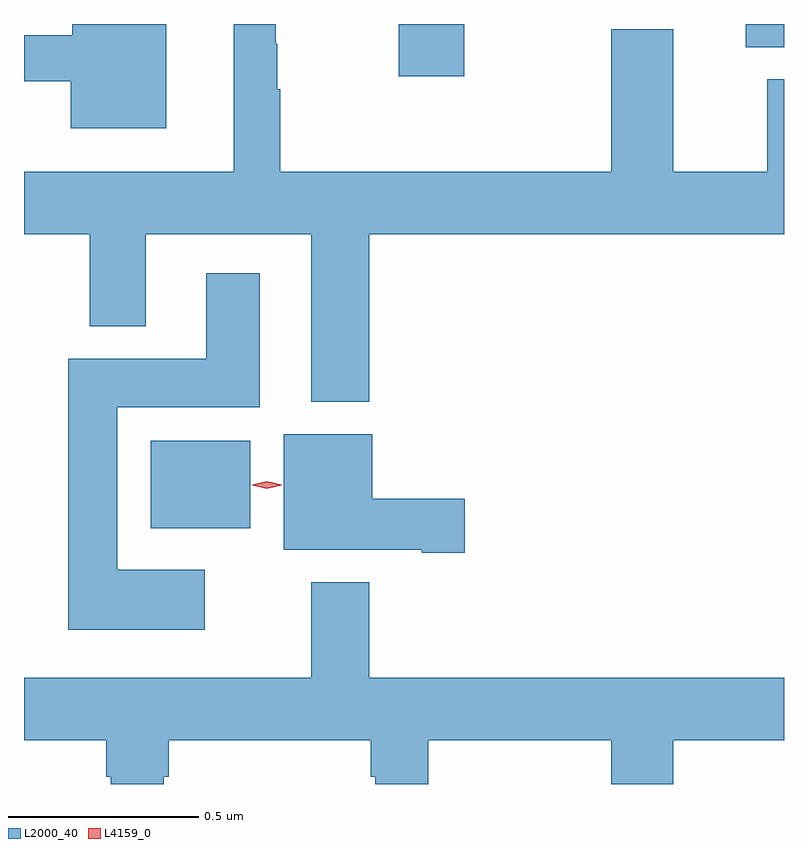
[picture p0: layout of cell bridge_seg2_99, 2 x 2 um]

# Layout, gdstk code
import gdstk
lib = gdstk.Library(unit=1e-6, precision=1e-09)
def R(c, l, rs):  # rectangles x0, y0, x1, y1
    for r in rs: c.add(gdstk.rectangle(r[:2], r[2:], *l))
def P(c, l, *ps):  # polygons
    for p in ps: c.add(gdstk.Polygon(p, *l))
L2000_40 = (2000, 40)
L4159_0 = (4159, 0)

bridge_seg2_99 = lib.new_cell('bridge_seg2_99')
R(bridge_seg2_99, L2000_40, [(283.676,646.862,283.939,647.092), (284.329,648.051,284.502,648.189), (285.242,648.128,285.343,648.189)])
P(bridge_seg2_99, L2000_40, [(284.252,647.636),(285.343,647.636),(285.343,648.043),(285.299,648.043),(285.299,647.8),(285.052,647.8),(285.052,648.175),(284.888,648.175),(284.888,647.8),(284.017,647.8),(284.017,648.017),(284.009,648.017),(284.009,648.137),(284.006,648.137),(284.006,648.189),(283.895,648.189),(283.895,647.8),(283.343,647.8),(283.343,647.636),(283.516,647.636),(283.516,647.393),(283.663,647.393),(283.663,647.636),(284.099,647.636),(284.099,647.195),(284.252,647.195)],
  [(283.717,648.189),(283.47,648.189),(283.47,648.16),(283.343,648.16),(283.343,648.038),(283.466,648.038),(283.466,647.915),(283.717,647.915)],
  [(283.819,646.753),(283.588,646.753),(283.588,647.18),(283.963,647.18),(283.963,647.533),(283.823,647.533),(283.823,647.308),(283.459,647.308),(283.459,646.595),(283.819,646.595)],
  [(284.503,646.94),(284.26,646.94),(284.26,647.11),(284.027,647.11),(284.027,646.805),(284.39,646.805),(284.39,646.798),(284.503,646.798)],
  [(283.711,646.208),(283.724,646.208),(283.724,646.304),(284.255,646.304),(284.255,646.208),(284.267,646.208),(284.267,646.189),(284.407,646.189),(284.407,646.304),(284.888,646.304),(284.888,646.189),(285.052,646.189),(285.052,646.304),(285.343,646.304),(285.343,646.468),(284.252,646.468),(284.252,646.72),(284.099,646.72),(284.099,646.468),(283.343,646.468),(283.343,646.304),(283.559,646.304),(283.559,646.208),(283.571,646.208),(283.571,646.189),(283.711,646.189)])
P(bridge_seg2_99, L4159_0, [(283.982,646.966),(283.944,646.975),(283.944,646.976),(283.944,646.976),(283.982,646.986),(284.021,646.976),(284.021,646.976),(284.021,646.975)])

lib.write_gds('bridge_seg2_99.gds')
